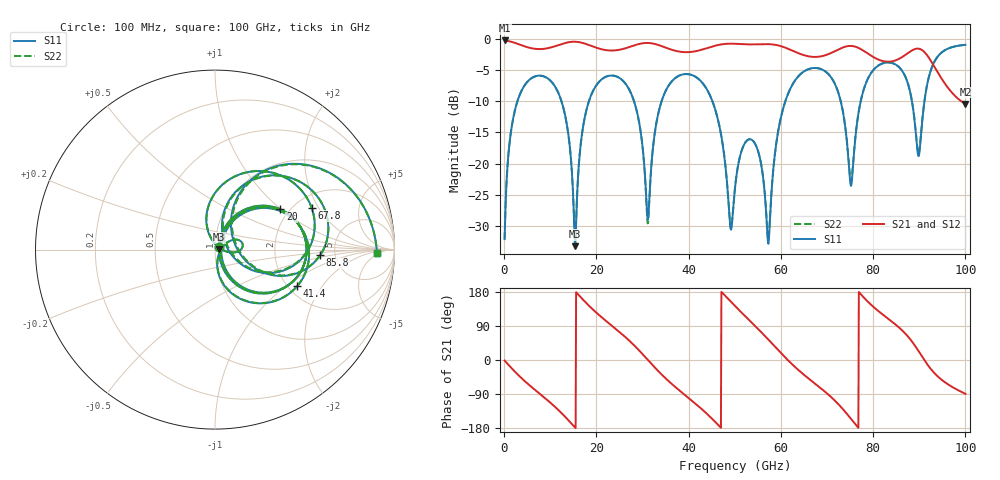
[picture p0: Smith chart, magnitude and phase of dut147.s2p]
! Touchstone file exported from HFSS 2026.1.0
!  File:  C:/ffzhzh/LocalFiles/Ansys_Project_Files/temp_train_TSV_RDL_147_1783644214_33328.aedt
!  Generated:  08:52:44 AM Jul 10, 2026
!  Design:  TSV_RDL
!  Project:  temp_train_TSV_RDL_147_1783644214_33328
! Variables:
!  h_bsmrdl = 4.09um
!  h_ox = 20um
!  h_rdl = 5um
!  h_sub = 76.61um
!  h_tmrdl = 2.14um
!  h_tsv = 76.61um
!  h_via = 3um
!  l_bsmrdl = 492.29um
!  l_sub = 3894.9um
!  l_tmrdl = 471.17um
!  m_sub = 200um
!  pitch = 48.53um
!  r_tsv = 8.46um
!  s_tmrdl = 10um
!  w_bsmrdl = 18.44um
!  w_sub = 500um
!  w_tmrdl = 26.01um
!  x_tsv_center1 = 484.175um
!  x_tsv_center2 = 994.905um
!  x_tsv_center3 = 1492.085um
!  x_tsv_center4 = 2002.815um
!  x_tsv_center5 = 2499.995um
!  x_tsv_center6 = 3010.725um
# GHz S MA R 50.000000
! Terminal data exported
! Port[1] = TM_RDL1_1_T1
! Port[2] = TM_RDL5_1_T1
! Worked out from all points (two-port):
!   1000 points, 100 MHz to 100 GHz, reference 50 ohm
!   highest |S21| = -0.18 dB at 100 MHz (marker M1); lowest = -10.4 dB at 100 GHz (marker M2)
!   |S21| within 3 dB of the highest: start of sweep to 80.9 GHz; 85.5 GHz to 92.27 GHz (6.767 GHz wide, 7.61 % of centre)
!   lowest |S11| = -33.3 dB at 15.4 GHz (marker M3), VSWR 1.04, Z = 52.2 + j0.166 ohm
!   |S11| at or under -10 dB: 12.44 GHz to 18.37 GHz (5.928 GHz wide, 38.5 % of centre); 28.17 GHz to 34.12 GHz (5.948 GHz wide, 19.1 % of centre); 45.17 GHz to 60.95 GHz (15.78 GHz wide, 29.7 % of centre) (the widest 3 of 6)
!   |S22| runs from -33.0 to -0.9 dB; largest |S21 - S12| = 1.7e-14
!   S11 on the Smith chart (normalised r, x): 100 MHz: 1.04, +0.03; 20 GHz: 1.79, +0.99; 41.4 GHz: 2.23, -1.22; 67.8 GHz: 2.45, +1.74; 85.8 GHz: 3.81, -0.36; 100 GHz: 19, -4
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0.1  0.02463 32.5  0.9795 -1.4  0.9795 -1.4  0.02463 32.5
! Gamma 0 0 0 0
! Port Impedance 50 0 50 0
2.3  0.2652 53.7  0.9372 -30.4  0.9372 -30.4  0.2652 53.8
7.5  0.5101 1.1  0.8347 -87.0  0.8347 -87.0  0.5101 1.1
12.8  0.2843 -52.7  0.9245 -144.5  0.9245 -144.5  0.2844 -52.6
15.4  0.0216 4.2  0.9567 -178.4  0.9567 -178.4  0.02232 4.0
16.8  0.1648 64.2  0.9399 163.0  0.9399 163.0  0.1649 64.0
20  0.4274 31.8  0.8561 124.8  0.8561 124.8  0.4274 31.7
27.5  0.3682 -40.7  0.8762 46.8  0.8762 46.8  0.3681 -40.9
31.1  0.03541 -9.2  0.9352 1.0  0.9352 1.0  0.033 -9.8
33.4  0.2514 52.5  0.9014 -29.1  0.9014 -29.1  0.2511 53.2
41.4  0.5015 -24.0  0.801 -114.3  0.801 -114.3  0.5016 -23.6
50.1  0.06629 28.5  0.9207 142.0  0.9207 142.0  0.06668 28.4
54  0.1515 3.7  0.9106 94.7  0.9106 94.7  0.1518 4.2
57.3  0.02257 53.5  0.9149 53.6  0.9149 53.6  0.02427 52.9
59.5  0.1899 104.7  0.8917 25.0  0.8917 25.0  0.19 104.3
66.7  0.585 33.1  0.7236 -55.7  0.7236 -55.7  0.585 33.4
67.8  0.5868 23.4  0.7225 -66.3  0.7225 -66.3  0.5869 23.7
75.2  0.06593 23.7  0.8851 -155.3  0.8851 -155.3  0.07187 24.0
83.4  0.6507 17.4  0.6609 107.6  0.6609 107.6  0.6513 17.4
85.8  0.5874 -3.0  0.7026 83.7  0.7026 83.7  0.5881 -2.8
90.6  0.2115 64.3  0.8201 9.2  0.8201 9.2  0.2144 62.9
100  0.9027 -1.2  0.3022 -89.3  0.3022 -89.3  0.9028 -1.3
